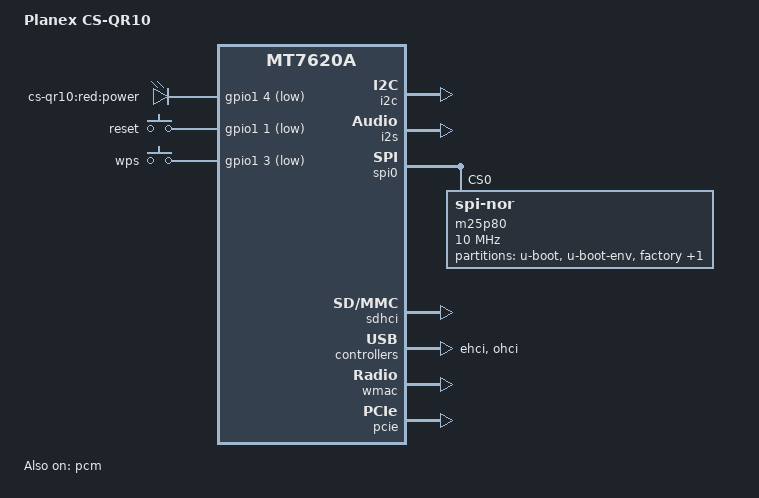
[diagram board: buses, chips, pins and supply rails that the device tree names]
/dts-v1/;

#include "mt7620a.dtsi"

/ {
	compatible = "ralink,mt7620a-soc";
	model = "Planex CS-QR10";

	sound {
		compatible = "mediatek,mt7620-audio-wm8960";
		model = "mt7620-wm8960";
		i2s-controller = <&i2s>;
		audio-routing =
			"Ext Spk", "SPK_LP",
			"Ext Spk", "SPK_LN",
			"Ext Spk", "SPK_RP",
			"Ext Spk", "SPK_RN";
	};

	gpio-leds {
		compatible = "gpio-leds";

		power {
			label = "cs-qr10:red:power";
			gpios = <&gpio1 4 1>;
		};
	};

	gpio-keys-polled {
		compatible = "gpio-keys-polled";
		#address-cells = <1>;
		#size-cells = <0>;
		poll-interval = <20>;

		s1 {
			label = "reset";
			gpios = <&gpio1 1 1>;
			linux,code = <0x198>;
		};

		s2 {
			label = "wps";
			gpios = <&gpio1 3 1>;
			linux,code = <0x211>;
		};
	};
};

&gpio0 {
	status = "okay";
};

&gpio1 {
	status = "okay";
};

&gpio2 {
	status = "okay";
};

&gpio3 {
	status = "okay";
};

&i2c {
	status = "okay";
};

&i2s {
	status = "okay";
	pinctrl-names = "default";
	pinctrl-0 = <&pcm_i2s_pins>;
};

&spi0 {
	status = "okay";

	m25p80@0 {
		#address-cells = <1>;
		#size-cells = <1>;
		compatible = "jedec,spi-nor";
		reg = <0>;
		linux,modalias = "m25p80", "mx25l6405d";
		spi-max-frequency = <10000000>;

		partition@0 {
			label = "u-boot";
			reg = <0x0 0x30000>;
			read-only;
		};

		partition@30000 {
			label = "u-boot-env";
			reg = <0x30000 0x10000>;
			read-only;
		};

		factory: partition@40000 {
			label = "factory";
			reg = <0x40000 0x10000>;
			read-only;
		};

		partition@50000 {
			label = "firmware";
			reg = <0x50000 0x7b0000>;
		};
	};
};

&pcm {
	status = "okay";
};

&gdma {
	status = "okay";
};

&pinctrl {
	state_default: pinctrl0 {
		gpio {
			ralink,group = "spi refclk", "rgmii1";
			ralink,function = "gpio";
		};
		wdt {
			ralink,group = "wdt";
			ralink,function = "wdt refclk";
		};
	};
};

&ethernet {
	pinctrl-names = "default";
	pinctrl-0 = <&ephy_pins>;
	mtd-mac-address = <&factory 0x4>;
	mediatek,portmap = "llllw";
};

&gsw {
	ralink,port4 = "ephy";
};

&sdhci {
	status = "okay";
};

&ehci {
	status = "okay";
};

&ohci {
	status = "okay";
};

&wmac {
	ralink,mtd-eeprom = <&factory 0>;
};

&pcie {
	status = "okay";
};
